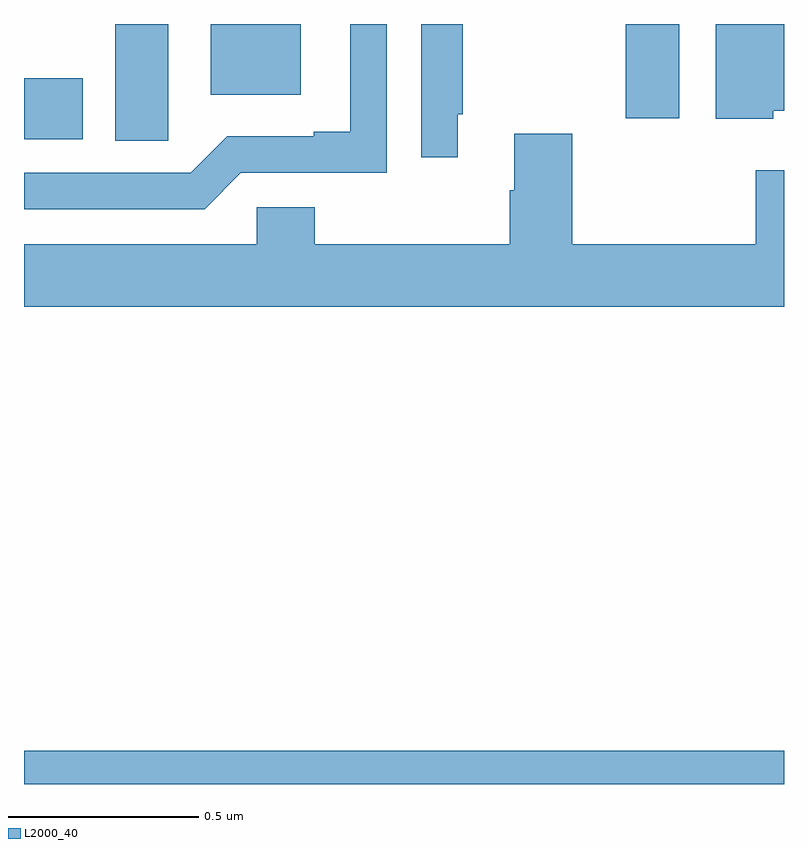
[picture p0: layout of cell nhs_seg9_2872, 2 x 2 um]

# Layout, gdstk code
import gdstk
lib = gdstk.Library(unit=1e-6, precision=1e-09)
def R(c, l, rs):  # rectangles x0, y0, x1, y1
    for r in rs: c.add(gdstk.rectangle(r[:2], r[2:], *l))
def P(c, l, *ps):  # polygons
    for p in ps: c.add(gdstk.Polygon(p, *l))
L2000_40 = (2000, 40)

nhs_seg9_2872 = lib.new_cell('nhs_seg9_2872')
R(nhs_seg9_2872, L2000_40, [(146,1192.5,148,1192.588), (146,1194.197,146.155,1194.357), (147.583,1194.252,147.724,1194.5), (146.492,1194.314,146.728,1194.5)])
P(nhs_seg9_2872, L2000_40, [(146.571,1194.108),(146.955,1194.108),(146.955,1194.5),(146.858,1194.5),(146.858,1194.217),(146.762,1194.217),(146.762,1194.204),(146.535,1194.204),(146.439,1194.108),(146,1194.108),(146,1194.012),(146.475,1194.012)],
  [(147.142,1194.262),(147.154,1194.262),(147.154,1194.5),(147.045,1194.5),(147.045,1194.15),(147.142,1194.15)],
  [(147.972,1194.272),(148,1194.272),(148,1194.5),(147.821,1194.5),(147.821,1194.251),(147.972,1194.251)],
  [(146.379,1194.304),(146.38,1194.304),(146.38,1194.5),(146.24,1194.5),(146.24,1194.193),(146.379,1194.193)],
  [(148,1194.115),(147.926,1194.115),(147.926,1193.92),(147.443,1193.92),(147.443,1194.211),(147.29,1194.211),(147.29,1194.062),(147.278,1194.062),(147.278,1193.92),(146.765,1193.92),(146.765,1194.018),(146.613,1194.018),(146.613,1193.92),(146,1193.92),(146,1193.756),(148,1193.756)])

lib.write_gds('nhs_seg9_2872.gds')
